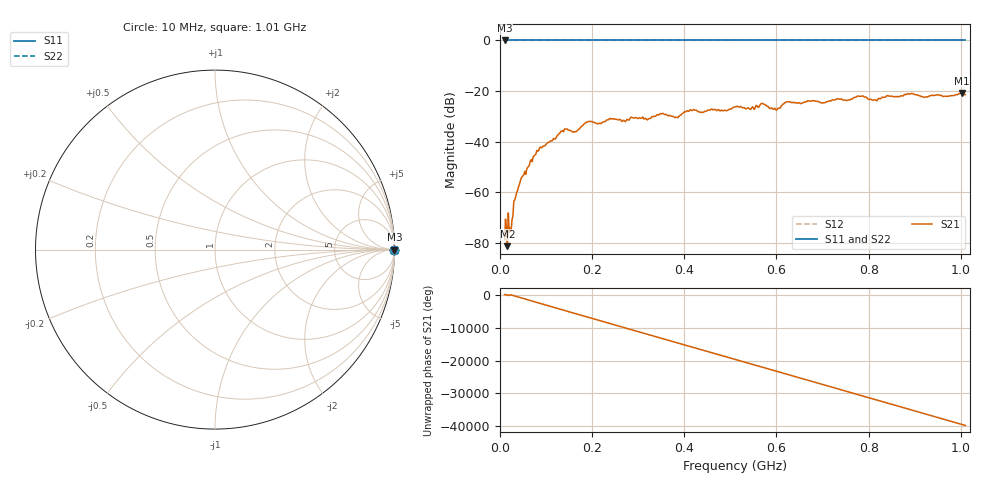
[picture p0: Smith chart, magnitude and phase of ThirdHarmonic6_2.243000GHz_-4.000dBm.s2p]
! 8/17/2025 2:38:19 AM
! C:\ANRITSUVNA\TEMP\TEMP.S2P
! CHANNEL.1
! TR.MEASUREMENT
! RAW.DATA
! RF.CORRECTION.OFF
! AVERAGING.OFF
! IF.BANDWIDTH: 5KHZ
! SWEEPTYPE:  FREQ.SWEEP(Linear)
! Reference Plane Port Info
! PORT:  PORT1  PORT2
! DISTANCE:  0  m  0  m
! TIME:  0  s  0  s
! PHASE.OFFSET:  0  deg.  0  deg.
! LOSS:  0  dB  0  dB
! REF.LOSS:  0  dB  0  dB
! REF.FREQ:  0  Hz  0  Hz
! Power Info
! POWER:  -20  dBm  -20  dBm
! EFF.POWER:  -20  dBm  -20  dBm
! SOURCE.ATTEN:  0  dB  0  dB
! TEST.ATTEN:  0  dB  0  dB
# GHZ S RI R 50.0
! FREQ.GHZ  S11RE  S11IM  S21RE  S21IM  S12RE  S12IM  S22RE  S22IM
!; PortSelection: Port_12
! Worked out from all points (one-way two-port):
!   501 points, 10 MHz to 1.01 GHz, reference 50 ohm
!   highest |S21| = -20.81 dB at 1.002 GHz (marker M1); lowest = -81.3 dB at 16 MHz (marker M2)
!   lowest |S11| = 0.0 dB at 10 MHz (marker M3)
!   |S11| at or under -10 dB: nowhere
!   |S22| runs from 0.0 to 0.0 dB; largest |S21 - S12| = 1.1
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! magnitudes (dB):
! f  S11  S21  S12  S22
! 10 MHz  0.0  -78.7  0.0  0.0
! 16 MHz  0.0  -81.3  0.0  0.0
! 24 MHz  0.0  -75.5  0.0  0.0
! 34 MHz  0.0  -61.8  0.0  0.0
! 44 MHz  0.0  -55.7  0.0  0.0
! 76 MHz  0.0  -45.2  0.0  0.0
! 136 MHz  0.0  -35.6  0.0  0.0
! 162 MHz  0.0  -36.0  0.0  0.0
! 178 MHz  0.0  -33.8  0.0  0.0
! 344 MHz  0.0  -29.5  0.0  0.0
! 382 MHz  0.0  -30.3  0.0  0.0
! 416 MHz  0.0  -27.7  0.0  0.0
! 510 MHz  0.0  -26.3  0.0  0.0
! 548 MHz  0.0  -26.2  0.0  0.0
! 570 MHz  0.0  -24.9  0.0  0.0
! 598 MHz  0.0  -27.3  0.0  0.0
! 622 MHz  0.0  -24.3  0.0  0.0
! 678 MHz  0.0  -23.8  0.0  0.0
! 814 MHz  0.0  -23.4  0.0  0.0
! 844 MHz  0.0  -22.0  0.0  0.0
! 1.002 GHz  0.0  -20.8  0.0  0.0
! 1.01 GHz  0.0  -21.5  0.0  0.0
